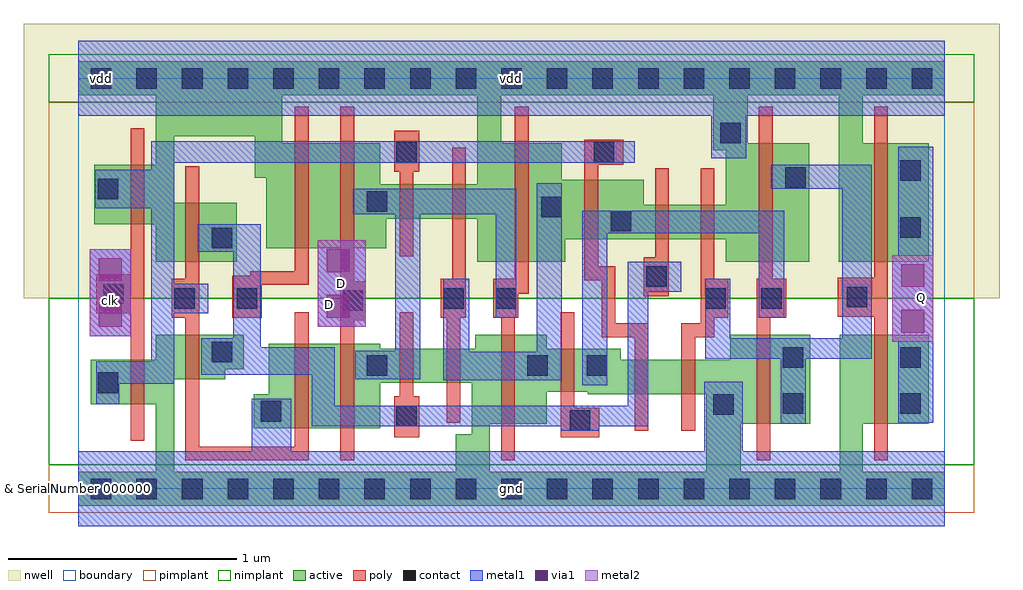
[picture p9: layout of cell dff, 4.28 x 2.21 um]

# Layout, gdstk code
import gdstk
lib = gdstk.Library(unit=1e-6, precision=1e-09)
def R(c, l, rs):  # rectangles x0, y0, x1, y1
    for r in rs: c.add(gdstk.rectangle(r[:2], r[2:], *l))
def A(c, l, x, y, w, h, nx, ny, dx, dy):  # array of equal rectangles
    R(c, l, [(x+i*dx, y+j*dy, x+i*dx+w, y+j*dy+h) for i in range(nx) for j in range(ny)])
def P(c, l, *ps):  # polygons
    for p in ps: c.add(gdstk.Polygon(p, *l))
nwell = (3, 0)
active = (6, 0)
poly = (17, 0)
pimplant = (25, 0)
nimplant = (26, 0)
contact = (30, 0)
metal1 = (31, 0)
metal2 = (32, 0)
via1 = (51, 0)
boundary = (108, 0)

dff = lib.new_cell('dff')
R(dff, nwell, [(-0.24,0.835,4.04,2.04)])
P(dff, active, [(0.34,0.995),(0.34,1.16),(0.07,1.16),(0.07,1.42),(0.34,1.42),(0.34,1.725),(0,1.725),(0,1.875),(3.8,1.875),(3.8,1.725),(3.44,1.725),(3.44,1.515),(3.73,1.515),(3.73,0.995),(3.335,0.995),(3.335,1.725),(2.935,1.725),(2.935,1.6),(2.785,1.6),(2.785,1.725),(1.855,1.725),(1.855,1.6),(1.75,1.6),(1.75,1.725),(0.895,1.725),(0.895,1.515),(1.325,1.515),(1.325,1.335),(1.75,1.335),(1.75,1.6),(1.855,1.6),(1.855,1.515),(2.12,1.515),(2.12,1.355),(2.48,1.355),(2.48,1.245),(2.84,1.245),(2.84,1.485),(2.785,1.485),(2.785,1.6),(2.935,1.6),(2.935,1.515),(3.205,1.515),(3.205,0.995),(2.84,0.995),(2.84,1.095),(2.135,1.095),(2.135,0.995),(1.75,0.995),(1.75,1.185),(1.35,1.185),(1.35,1.055),(0.825,1.055),(0.825,1.365),(0.775,1.365),(0.775,1.545),(0.42,1.545),(0.42,1.255),(0.695,1.255),(0.695,0.995)],
  [(0,-0.075),(0,0.075),(0.34,0.075),(0.34,0.37),(0.055,0.37),(0.055,0.565),(0.34,0.565),(0.34,0.675),(0.725,0.675),(0.725,0.525),(0.645,0.525),(0.645,0.48),(0.42,0.48),(0.42,0.075),(1.655,0.075),(1.655,0.24),(1.725,0.24),(1.725,0.465),(1.325,0.465),(1.325,0.265),(0.77,0.265),(0.77,0.415),(0.835,0.415),(0.835,0.635),(1.325,0.635),(1.325,0.615),(1.74,0.615),(1.74,0.675),(2.055,0.675),(2.055,0.615),(2.38,0.615),(2.38,0.565),(2.86,0.565),(2.86,0.675),(3.21,0.675),(3.21,0.425),(2.055,0.425),(2.055,0.285),(1.805,0.285),(1.805,0.075),(2.755,0.075),(2.755,0.415),(2.235,0.415),(2.235,0.425),(3.21,0.425),(3.21,0.285),(2.905,0.285),(2.905,0.075),(3.34,0.075),(3.34,0.675),(3.73,0.675),(3.73,0.285),(3.44,0.285),(3.44,0.075),(3.8,0.075),(3.8,-0.075)])
P(dff, poly, [(0.675,0.75),(0.675,0.935),(0.755,0.935),(0.755,0.955),(0.95,0.955),(0.95,1.675),(1.01,1.675),(1.01,0.895),(0.805,0.895),(0.805,0.75)],
  [(2.115,0.225),(2.115,0.775),(2.175,0.775),(2.175,0.355),(2.285,0.355),(2.285,0.225)],
  [(3.49,0.125),(3.49,0.755),(3.33,0.755),(3.33,0.925),(3.49,0.925),(3.49,1.675),(3.55,1.675),(3.55,0.125)],
  [(2.22,0.915),(2.22,1.53),(2.39,1.53),(2.39,1.42),(2.28,1.42),(2.28,0.975),(2.355,0.975),(2.355,0.725),(2.5,0.725),(2.5,0.255),(2.44,0.255),(2.44,0.665),(2.295,0.665),(2.295,0.915)],
  [(2.645,0.255),(2.645,0.725),(2.73,0.725),(2.73,1.405),(2.79,1.405),(2.79,0.92),(2.85,0.92),(2.85,0.75),(2.79,0.75),(2.79,0.665),(2.705,0.665),(2.705,0.255)],
  [(1.855,0.125),(1.855,0.75),(1.82,0.75),(1.82,0.92),(1.915,0.92),(1.915,1.675),(1.975,1.675),(1.975,0.855),(1.93,0.855),(1.93,0.75),(1.915,0.75),(1.915,0.125)],
  [(1.385,0.225),(1.385,0.405),(1.41,0.405),(1.41,0.775),(1.47,0.775),(1.47,0.405),(1.495,0.405),(1.495,0.225)],
  [(1.41,1.02),(1.41,1.39),(1.385,1.39),(1.385,1.57),(1.495,1.57),(1.495,1.39),(1.47,1.39),(1.47,1.02)],
  [(0.23,0.21),(0.23,0.77),(0.08,0.77),(0.08,0.94),(0.23,0.94),(0.23,1.58),(0.29,1.58),(0.29,0.21)],
  [(1.615,0.29),(1.615,0.75),(1.59,0.75),(1.59,0.92),(1.64,0.92),(1.64,1.495),(1.7,1.495),(1.7,0.75),(1.675,0.75),(1.675,0.29)],
  [(2.48,0.845),(2.48,1.015),(2.53,1.015),(2.53,1.405),(2.59,1.405),(2.59,0.845)],
  [(1.15,0.125),(1.15,1.675),(1.21,1.675),(1.21,0.91),(1.26,0.91),(1.26,0.74),(1.21,0.74),(1.21,0.125)],
  [(2.975,0.125),(2.975,0.92),(2.985,0.92),(2.985,1.675),(3.045,1.675),(3.045,0.92),(3.105,0.92),(3.105,0.75),(3.035,0.75),(3.035,0.125)],
  [(0.47,0.125),(0.47,0.75),(0.41,0.75),(0.41,0.92),(0.47,0.92),(0.47,1.415),(0.53,1.415),(0.53,0.185),(0.95,0.185),(0.95,0.775),(1.01,0.775),(1.01,0.125)])
R(dff, pimplant, [(-0.13,-0.105,3.93,0.105), (-0.13,0.835,3.93,1.695)])
R(dff, nimplant, [(-0.13,0.105,3.93,0.835), (-0.13,1.695,3.93,1.905)])
A(dff, contact, 0.055, -0.045, 0.09, 0.09, 19, 2, 0.2, 1.8)
R(dff, contact, [(2.155,0.255,2.245,0.345), (1.395,0.275,1.485,0.365), (0.8,0.295,0.89,0.385), (2.785,0.325,2.875,0.415), (3.09,0.33,3.18,0.42), (3.605,0.33,3.695,0.42), (0.085,0.42,0.175,0.51), (1.265,0.495,1.355,0.585), (1.97,0.495,2.06,0.585), (2.23,0.495,2.32,0.585), (3.09,0.53,3.18,0.62), (3.605,0.53,3.695,0.62), (0.585,0.555,0.675,0.645), (1.16,0.78,1.25,0.87), (0.42,0.79,0.51,0.88), (0.695,0.79,0.785,0.88), (1.6,0.79,1.69,0.88), (1.83,0.79,1.92,0.88), (2.75,0.79,2.84,0.88), (2.995,0.79,3.085,0.88), (3.37,0.795,3.46,0.885), (0.11,0.81,0.2,0.9), (2.49,0.885,2.58,0.975), (0.585,1.055,0.675,1.145), (3.605,1.1,3.695,1.19), (2.335,1.13,2.425,1.22), (2.03,1.19,2.12,1.28), (1.265,1.215,1.355,1.305), (0.085,1.27,0.175,1.36), (3.1,1.32,3.19,1.41), (3.605,1.35,3.695,1.44), (1.395,1.43,1.485,1.52), (2.26,1.43,2.35,1.52), (2.815,1.515,2.905,1.605)])
R(dff, metal1, [(0,-0.165,3.8,0.165), (0,-0.165,3.8,0.165), (3.595,0.29,3.75,1.5), (3.57,0.645,3.75,1.025), (0.05,0.67,0.23,1.05), (1.05,0.71,1.23,1.09), (1.05,0.71,1.26,1.09), (0,1.635,3.8,1.965), (0,1.635,3.8,1.965)])
P(dff, metal1, [(3.08,0.285),(3.08,0.57),(2.75,0.57),(2.75,0.92),(2.86,0.92),(2.86,0.66),(3.35,0.66),(3.35,1.315),(3.04,1.315),(3.04,1.42),(3.48,1.42),(3.48,0.57),(3.19,0.57),(3.19,0.285)],
  [(0.54,0.5),(0.54,0.66),(0.68,0.66),(0.68,1.04),(0.525,1.04),(0.525,1.16),(0.8,1.16),(0.8,0.62),(1.125,0.62),(1.125,0.365),(2.41,0.365),(2.41,0.995),(2.645,0.995),(2.645,0.865),(2.5,0.865),(2.5,0.275),(2.285,0.275),(2.285,0.255),(2.115,0.255),(2.115,0.275),(1.025,0.275),(1.025,0.5)],
  [(1.05,0.71),(1.05,1.09),(1.17,1.09),(1.17,0.92),(1.26,0.92),(1.26,0.71)],
  [(2.21,0.455),(2.21,1.22),(3.095,1.22),(3.095,0.75),(2.985,0.75),(2.985,1.12),(2.32,1.12),(2.32,0.455)],
  [(0,-0.165),(0,0.165),(0.76,0.165),(0.76,0.395),(0.935,0.395),(0.935,0.165),(2.745,0.165),(2.745,0.47),(2.915,0.47),(2.915,0.165),(3.8,0.165),(3.8,-0.165)],
  [(2.775,1.45),(2.775,1.635),(0,1.635),(0,1.965),(3.8,1.965),(3.8,1.635),(2.93,1.635),(2.93,1.45)],
  [(1.6,0.475),(1.6,0.92),(1.715,0.92),(1.715,0.6),(2.01,0.6),(2.01,1.34),(2.12,1.34),(2.12,0.475)],
  [(1.215,0.48),(1.215,0.605),(1.39,0.605),(1.39,1.205),(1.205,1.205),(1.205,1.315),(1.92,1.315),(1.92,0.75),(1.83,0.75),(1.83,1.205),(1.5,1.205),(1.5,0.48)],
  [(0.05,0.67),(0.05,1.05),(0.16,1.05),(0.16,0.96),(0.205,0.96),(0.205,0.77),(0.16,0.77),(0.16,0.67)],
  [(0.08,0.37),(0.08,0.56),(0.32,0.56),(0.32,1.23),(0.075,1.23),(0.075,1.4),(0.32,1.4),(0.32,1.525),(2.44,1.525),(2.44,1.43),(0.42,1.43),(0.42,0.9),(0.57,0.9),(0.57,0.77),(0.42,0.77),(0.42,0.46),(0.18,0.46),(0.18,0.37)])
R(dff, metal2, [(3.57,0.645,3.75,1.025), (3.57,0.645,3.75,1.025), (0.05,0.67,0.23,1.05), (0.05,0.67,0.23,1.05), (1.05,0.71,1.23,1.09), (1.05,0.71,1.26,1.09), (1.05,0.71,1.26,1.09), (1.05,0.765,1.14,0.855), (0.05,0.775,0.14,0.865), (3.66,0.785,3.75,0.875)])
R(dff, via1, [(3.61,0.685,3.71,0.785), (0.09,0.71,0.19,0.81), (1.09,0.75,1.19,0.85), (3.61,0.885,3.71,0.985), (0.09,0.91,0.19,1.01), (1.09,0.95,1.19,1.05)])
R(dff, boundary, [(0,0,3.8,1.8)])
dff.add(gdstk.Label('& SerialNumber 000000', (0,0), layer=63, texttype=63))
dff.add(gdstk.Label('& Distributor TSMC', (0,0), layer=63, texttype=63))
dff.add(gdstk.Label('& Metric 6.840', (0,0), layer=63, texttype=63))
dff.add(gdstk.Label('& _Instance_tag DFQD1', (0,0), layer=63, texttype=63))
dff.add(gdstk.Label('& Version 200a', (0,0), layer=63, texttype=63))
dff.add(gdstk.Label('& Product tcbn65lp', (0,0), layer=63, texttype=63))
dff.add(gdstk.Label('& Vendor Taiwan Semiconductor Manufacturing Corp.', (0,0), layer=63, texttype=63))
dff.add(gdstk.Label('& SerialNumber 000000', (0,0), layer=6, texttype=0))
dff.add(gdstk.Label('& Distributor TSMC', (0,0), layer=6, texttype=0))
dff.add(gdstk.Label('& Metric 6.840', (0,0), layer=6, texttype=0))
dff.add(gdstk.Label('& _Instance_tag DFQD1', (0,0), layer=6, texttype=0))
dff.add(gdstk.Label('& Version 200a', (0,0), layer=6, texttype=0))
dff.add(gdstk.Label('& Product tcbn65lp', (0,0), layer=6, texttype=0))
dff.add(gdstk.Label('& Vendor Taiwan Semiconductor Manufacturing Corp.', (0,0), layer=6, texttype=0))
dff.add(gdstk.Label('vdd', (0.1,1.8), layer=31, texttype=0))
dff.add(gdstk.Label('gnd', (0.1,0), layer=31, texttype=0))
dff.add(gdstk.Label('dff', (0,0), layer=127, texttype=0))
dff.add(gdstk.Label('clk', (0.14,0.825), layer=32, texttype=0))
dff.add(gdstk.Label('D', (1.1,0.81), layer=32, texttype=0))
dff.add(gdstk.Label('Q', (3.7,0.84), layer=32, texttype=0))
dff.add(gdstk.Label('D', (1.155,0.9), layer=32, texttype=0))
dff.add(gdstk.Label('Q', (3.66,0.835), layer=32, texttype=0))
dff.add(gdstk.Label('clk', (0.14,0.86), layer=32, texttype=0))
dff.add(gdstk.Label('vdd', (1.9,1.8), layer=31, texttype=0))
dff.add(gdstk.Label('gnd', (1.9,0), layer=31, texttype=0))

lib.write_gds('dff.gds')
